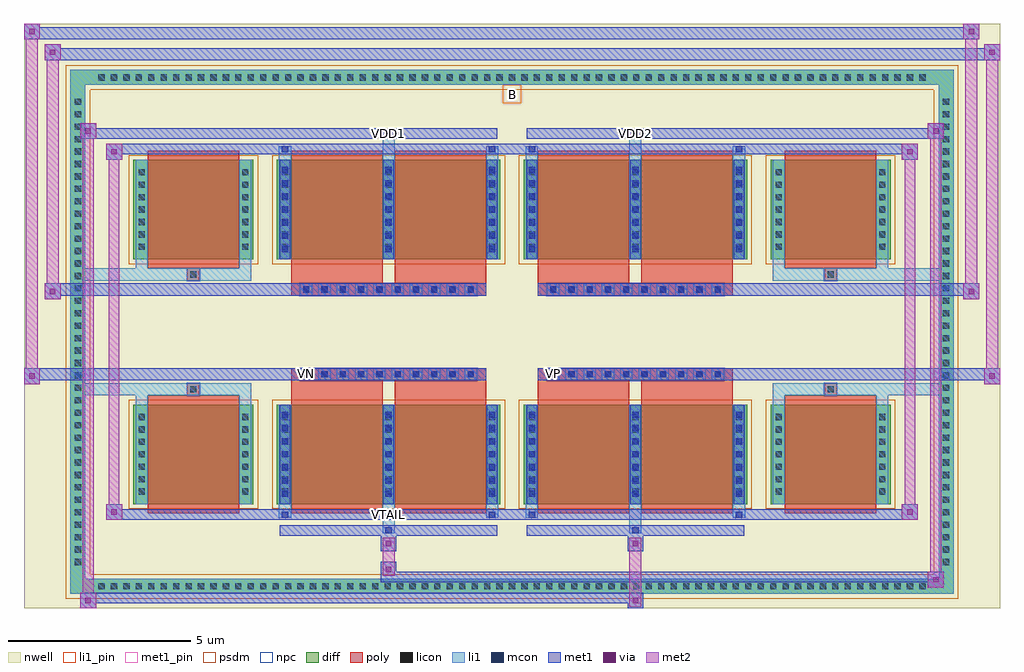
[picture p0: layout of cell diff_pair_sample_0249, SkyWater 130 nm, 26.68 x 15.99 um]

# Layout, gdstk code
import gdstk
lib = gdstk.Library(unit=1e-6, precision=5e-09)
def R(c, l, rs):  # rectangles x0, y0, x1, y1
    for r in rs: c.add(gdstk.rectangle(r[:2], r[2:], *l))
def A(c, l, x, y, w, h, nx, ny, dx, dy):  # array of equal rectangles
    R(c, l, [(x+i*dx, y+j*dy, x+i*dx+w, y+j*dy+h) for i in range(nx) for j in range(ny)])
def P(c, l, *ps):  # polygons
    for p in ps: c.add(gdstk.Polygon(p, *l))
nwell = (64, 20)
diff = (65, 20)
poly = (66, 20)
licon = (66, 44)
li1_pin = (67, 16)
li1 = (67, 20)
mcon = (67, 44)
met1_pin = (68, 16)
met1 = (68, 20)
via = (68, 44)
met2 = (69, 20)
psdm = (94, 20)
npc = (95, 20)

diff_pair_sample_0249 = lib.new_cell('diff_pair_sample_0249')
R(diff_pair_sample_0249, nwell, [(-13.34,-7.56,13.34,8.43), (-10.66,-5.75,-0.01,-0.795), (0.01,-5.75,10.66,-0.795), (-10.66,0.795,-0.01,5.75), (0.01,0.795,10.66,5.75)])
A(diff_pair_sample_0249, diff, -11.425, -7.16, 0.41, 0.41, 67, 2, 0.34, 13.91)
A(diff_pair_sample_0249, diff, -12.07, -6.495, 0.41, 0.41, 1, 38, 0, 0.34)
A(diff_pair_sample_0249, diff, 11.66, -6.495, 0.41, 0.41, 1, 38, 0, 0.34)
R(diff_pair_sample_0249, diff, [(-11.425,-7.16,11.425,-6.75), (-12.07,-6.495,-11.66,6.495), (11.66,-6.495,12.07,6.495), (-10.35,-4.705,-7.07,-1.985), (-6.43,-4.705,-0.32,-1.985), (0.32,-4.705,6.43,-1.985), (7.07,-4.705,10.35,-1.985), (-10.35,1.985,-7.07,4.705), (-6.43,1.985,-0.32,4.705), (0.32,1.985,6.43,4.705), (7.07,1.985,10.35,4.705), (-11.425,6.75,11.425,7.16)])
P(diff_pair_sample_0249, diff, [(12.07,7.16),(-12.07,7.16),(-12.07,-6.75),(-11.66,-6.75),(-11.66,6.75),(11.66,6.75),(11.66,-6.75),(-11.66,-6.75),(-12.07,-6.75),(-12.07,-7.16),(12.07,-7.16)])
A(diff_pair_sample_0249, poly, -5.79, -1.325, 0.33, 0.33, 10, 2, 0.5, 2.32)
A(diff_pair_sample_0249, poly, 0.96, -1.325, 0.33, 0.33, 10, 2, 0.5, 2.32)
R(diff_pair_sample_0249, poly, [(-9.96,-4.955,-7.46,-1.735), (-6.04,-4.955,-3.54,-1.735), (-3.21,-4.955,-0.71,-1.735), (0.71,-4.955,3.21,-1.735), (3.54,-4.955,6.04,-1.735), (7.46,-4.955,9.96,-1.735), (-8.875,-1.735,-8.545,-1.405), (-8.875,-1.735,-8.545,-1.405), (-6.04,-1.735,-3.54,-1.325), (-3.21,-1.735,-0.71,-1.325), (0.71,-1.735,3.21,-1.325), (3.54,-1.735,6.04,-1.325), (8.545,-1.735,8.875,-1.405), (8.545,-1.735,8.875,-1.405), (-6.04,-1.325,-0.71,-0.995), (0.71,-1.325,6.04,-0.995), (-6.04,0.995,-0.71,1.325), (0.71,0.995,6.04,1.325), (-6.04,1.325,-3.54,1.735), (-3.21,1.325,-0.71,1.735), (0.71,1.325,3.21,1.735), (3.54,1.325,6.04,1.735), (-8.875,1.405,-8.545,1.735), (-8.875,1.405,-8.545,1.735), (8.545,1.405,8.875,1.735), (8.545,1.405,8.875,1.735), (-9.96,1.735,-7.46,4.955), (-6.04,1.735,-3.54,4.955), (-3.21,1.735,-0.71,4.955), (0.71,1.735,3.21,4.955), (3.54,1.735,6.04,4.955), (7.46,1.735,9.96,4.955)])
A(diff_pair_sample_0249, licon, -11.305, -7.04, 0.17, 0.17, 67, 2, 0.34, 13.91)
A(diff_pair_sample_0249, licon, -11.95, -6.375, 0.17, 0.17, 1, 38, 0, 0.34)
A(diff_pair_sample_0249, licon, 11.78, -6.375, 0.17, 0.17, 1, 38, 0, 0.34)
A(diff_pair_sample_0249, licon, -10.21, -4.45, 0.17, 0.17, 1, 7, 0, 0.34)
A(diff_pair_sample_0249, licon, -7.38, -4.45, 0.17, 0.17, 1, 7, 0, 0.34)
A(diff_pair_sample_0249, licon, -6.29, -4.45, 0.17, 0.17, 3, 7, 2.83, 0.34)
A(diff_pair_sample_0249, licon, 0.46, -4.45, 0.17, 0.17, 3, 7, 2.83, 0.34)
A(diff_pair_sample_0249, licon, 7.21, -4.45, 0.17, 0.17, 1, 7, 0, 0.34)
A(diff_pair_sample_0249, licon, 10.04, -4.45, 0.17, 0.17, 1, 7, 0, 0.34)
A(diff_pair_sample_0249, licon, -5.71, -1.245, 0.17, 0.17, 10, 2, 0.5, 2.32)
A(diff_pair_sample_0249, licon, 1.04, -1.245, 0.17, 0.17, 10, 2, 0.5, 2.32)
A(diff_pair_sample_0249, licon, -10.21, 2.24, 0.17, 0.17, 1, 7, 0, 0.34)
A(diff_pair_sample_0249, licon, -7.38, 2.24, 0.17, 0.17, 1, 7, 0, 0.34)
A(diff_pair_sample_0249, licon, -6.29, 2.24, 0.17, 0.17, 3, 7, 2.83, 0.34)
A(diff_pair_sample_0249, licon, 0.46, 2.24, 0.17, 0.17, 3, 7, 2.83, 0.34)
A(diff_pair_sample_0249, licon, 7.21, 2.24, 0.17, 0.17, 1, 7, 0, 0.34)
A(diff_pair_sample_0249, licon, 10.04, 2.24, 0.17, 0.17, 1, 7, 0, 0.34)
R(diff_pair_sample_0249, licon, [(-8.795,-1.655,-8.625,-1.485), (8.625,-1.655,8.795,-1.485), (-8.795,1.485,-8.625,1.655), (8.625,1.485,8.795,1.655)])
R(diff_pair_sample_0249, li1_pin, [(-0.25,6.25,0.25,6.75)])
A(diff_pair_sample_0249, li1, -11.385, -7.12, 0.33, 0.33, 67, 2, 0.34, 13.91)
A(diff_pair_sample_0249, li1, -12.03, -6.455, 0.33, 0.33, 1, 38, 0, 0.34)
A(diff_pair_sample_0249, li1, 11.7, -6.455, 0.33, 0.33, 1, 38, 0, 0.34)
A(diff_pair_sample_0249, li1, -6.37, -4.705, 0.33, 2.72, 3, 2, 2.83, 6.69)
A(diff_pair_sample_0249, li1, 0.38, -4.705, 0.33, 2.72, 3, 2, 2.83, 6.69)
A(diff_pair_sample_0249, li1, -10.29, -4.53, 0.33, 0.33, 1, 7, 0, 0.34)
A(diff_pair_sample_0249, li1, -7.46, -4.53, 0.33, 0.33, 1, 7, 0, 0.34)
A(diff_pair_sample_0249, li1, -6.37, -4.53, 0.33, 0.33, 3, 7, 2.83, 0.34)
A(diff_pair_sample_0249, li1, 0.38, -4.53, 0.33, 0.33, 3, 7, 2.83, 0.34)
A(diff_pair_sample_0249, li1, 7.13, -4.53, 0.33, 0.33, 1, 7, 0, 0.34)
A(diff_pair_sample_0249, li1, 9.96, -4.53, 0.33, 0.33, 1, 7, 0, 0.34)
A(diff_pair_sample_0249, li1, -6.29, -4.51, 0.17, 0.17, 3, 7, 2.83, 0.36)
A(diff_pair_sample_0249, li1, -6.29, -4.51, 0.17, 2.33, 3, 2, 2.83, 6.69)
A(diff_pair_sample_0249, li1, 0.46, -4.51, 0.17, 0.17, 3, 7, 2.83, 0.36)
A(diff_pair_sample_0249, li1, 0.46, -4.51, 0.17, 2.33, 3, 2, 2.83, 6.69)
A(diff_pair_sample_0249, li1, -5.79, -1.325, 0.33, 0.33, 10, 2, 0.5, 2.32)
A(diff_pair_sample_0249, li1, 0.96, -1.325, 0.33, 0.33, 10, 2, 0.5, 2.32)
A(diff_pair_sample_0249, li1, -10.29, 2.16, 0.33, 0.33, 1, 7, 0, 0.34)
A(diff_pair_sample_0249, li1, -7.46, 2.16, 0.33, 0.33, 1, 7, 0, 0.34)
A(diff_pair_sample_0249, li1, -6.37, 2.16, 0.33, 0.33, 3, 7, 2.83, 0.34)
A(diff_pair_sample_0249, li1, 0.38, 2.16, 0.33, 0.33, 3, 7, 2.83, 0.34)
A(diff_pair_sample_0249, li1, 7.13, 2.16, 0.33, 0.33, 1, 7, 0, 0.34)
A(diff_pair_sample_0249, li1, 9.96, 2.16, 0.33, 0.33, 1, 7, 0, 0.34)
A(diff_pair_sample_0249, li1, -6.29, 2.18, 0.17, 0.17, 3, 7, 2.83, 0.36)
A(diff_pair_sample_0249, li1, 0.46, 2.18, 0.17, 0.17, 3, 7, 2.83, 0.36)
R(diff_pair_sample_0249, li1, [(-12.07,-7.16,-11.66,-6.75), (-12.07,-7.16,-11.66,-6.75), (-11.66,-7.16,11.66,-6.75), (11.66,-7.16,12.07,-6.75), (11.66,-7.16,12.07,-6.75), (-12.07,-6.75,-11.66,6.75), (11.66,-6.75,12.07,6.75), (-3.54,-5.51,-3.21,-4.705), (-3.46,-5.51,-3.29,-5.34), (3.21,-5.51,3.54,-4.705), (3.29,-5.51,3.46,-5.34), (-6.37,-5.08,-6.04,-4.705), (-6.29,-5.08,-6.12,-4.91), (-0.71,-5.08,-0.38,-4.705), (-0.63,-5.08,-0.46,-4.91), (0.38,-5.08,0.71,-4.705), (0.46,-5.08,0.63,-4.91), (6.04,-5.08,6.37,-4.705), (6.12,-5.08,6.29,-4.91), (-10.29,-4.705,-9.96,-1.985), (-7.46,-4.705,-7.13,-1.985), (7.13,-4.705,7.46,-1.985), (9.96,-4.705,10.29,-1.985), (-10.29,-1.985,-9.96,-1.405), (-7.46,-1.985,-7.13,-1.405), (7.13,-1.985,7.46,-1.405), (9.96,-1.985,10.29,-1.405), (-12.07,-1.735,-8.875,-1.405), (-10.29,-1.735,-8.875,-1.405), (-8.875,-1.735,-8.545,-1.405), (-8.545,-1.735,-7.13,-1.405), (7.13,-1.735,8.545,-1.405), (8.545,-1.735,8.875,-1.405), (8.545,-1.735,12.07,-1.405), (8.875,-1.735,10.29,-1.405), (-12.07,1.405,-8.875,1.735), (-10.29,1.405,-8.875,1.735), (-10.29,1.405,-9.96,1.985), (-8.875,1.405,-8.545,1.735), (-8.545,1.405,-7.13,1.735), (-7.46,1.405,-7.13,1.985), (7.13,1.405,8.545,1.735), (7.13,1.405,7.46,1.985), (8.545,1.405,8.875,1.735), (8.545,1.405,12.07,1.735), (8.875,1.405,10.29,1.735), (9.96,1.405,10.29,1.985), (-10.29,1.985,-9.96,4.705), (-7.46,1.985,-7.13,4.705), (7.13,1.985,7.46,4.705), (9.96,1.985,10.29,4.705), (-6.37,4.705,-6.04,5.08), (-3.54,4.705,-3.21,5.51), (-0.71,4.705,-0.38,5.08), (0.38,4.705,0.71,5.08), (3.21,4.705,3.54,5.51), (6.04,4.705,6.37,5.08), (-6.29,4.91,-6.12,5.08), (-0.63,4.91,-0.46,5.08), (0.46,4.91,0.63,5.08), (6.12,4.91,6.29,5.08), (-3.46,5.34,-3.29,5.51), (3.29,5.34,3.46,5.51), (-12.07,6.75,-11.66,7.16), (-12.07,6.75,-11.66,7.16), (-11.66,6.75,11.66,7.16), (11.66,6.75,12.07,7.16), (11.66,6.75,12.07,7.16)])
A(diff_pair_sample_0249, mcon, -6.29, -4.51, 0.17, 0.17, 3, 7, 2.83, 0.36)
A(diff_pair_sample_0249, mcon, 0.46, -4.51, 0.17, 0.17, 3, 7, 2.83, 0.36)
A(diff_pair_sample_0249, mcon, -5.71, -1.245, 0.17, 0.17, 10, 2, 0.5, 2.32)
A(diff_pair_sample_0249, mcon, 1.04, -1.245, 0.17, 0.17, 10, 2, 0.5, 2.32)
A(diff_pair_sample_0249, mcon, -6.29, 2.18, 0.17, 0.17, 3, 7, 2.83, 0.36)
A(diff_pair_sample_0249, mcon, 0.46, 2.18, 0.17, 0.17, 3, 7, 2.83, 0.36)
R(diff_pair_sample_0249, mcon, [(-3.46,-5.51,-3.29,-5.34), (3.29,-5.51,3.46,-5.34), (-6.29,-5.08,-6.12,-4.91), (-0.63,-5.08,-0.46,-4.91), (0.46,-5.08,0.63,-4.91), (6.12,-5.08,6.29,-4.91), (-6.29,4.91,-6.12,5.08), (-0.63,4.91,-0.46,5.08), (0.46,4.91,0.63,5.08), (6.12,4.91,6.29,5.08), (-3.46,5.34,-3.29,5.51), (3.29,5.34,3.46,5.51)])
R(diff_pair_sample_0249, met1_pin, [(-3.51,-5.12,-3.24,-4.85), (-5.76,-1.285,-5.49,-1.015), (0.99,-1.285,1.26,-1.015), (-3.51,5.3,-3.24,5.57), (3.24,5.3,3.51,5.57)])
A(diff_pair_sample_0249, met1, -6.35, -4.705, 0.29, 2.72, 3, 2, 2.83, 6.69)
A(diff_pair_sample_0249, met1, 0.4, -4.705, 0.29, 2.72, 3, 2, 2.83, 6.69)
A(diff_pair_sample_0249, met1, -6.35, -4.57, 0.29, 0.29, 3, 7, 2.83, 0.36)
A(diff_pair_sample_0249, met1, 0.4, -4.57, 0.29, 0.29, 3, 7, 2.83, 0.36)
A(diff_pair_sample_0249, met1, -5.77, -1.305, 0.29, 0.29, 10, 2, 0.5, 2.32)
A(diff_pair_sample_0249, met1, 0.98, -1.305, 0.29, 0.29, 10, 2, 0.5, 2.32)
A(diff_pair_sample_0249, met1, -6.35, 2.12, 0.29, 0.29, 3, 7, 2.83, 0.36)
A(diff_pair_sample_0249, met1, 0.4, 2.12, 0.29, 0.29, 3, 7, 2.83, 0.36)
R(diff_pair_sample_0249, met1, [(-11.8,-7.56,-11.37,-7.13), (3.16,-7.56,3.59,-7.13), (-11.8,-7.42,3.59,-7.13), (11.37,-6.99,11.8,-6.56), (-3.59,-6.85,11.8,-6.56), (-3.59,-6.71,-3.16,-6.28), (-3.59,-6,-3.16,-5.57), (3.16,-6,3.59,-5.57), (-6.35,-5.57,-0.4,-5.28), (-3.52,-5.57,-3.23,-5.28), (0.4,-5.57,6.35,-5.28), (3.23,-5.57,3.52,-5.28), (-11.09,-5.14,-10.66,-4.71), (-11.09,-5.14,-6.35,-4.85), (-6.35,-5.14,-6.06,-4.85), (-6.35,-5.14,-0.4,-4.85), (-0.69,-5.14,-0.4,-4.85), (-0.4,-5.14,0.4,-4.85), (0.4,-5.14,0.69,-4.85), (0.4,-5.14,6.35,-4.85), (6.06,-5.14,6.35,-4.85), (6.35,-5.14,11.09,-4.85), (10.66,-5.14,11.09,-4.71), (-13.34,-1.425,-12.91,-0.995), (12.91,-1.425,13.34,-0.995), (-13.34,-1.325,-0.71,-0.995), (-6.04,-1.325,-0.71,-0.995), (0.71,-1.325,6.04,-0.995), (0.71,-1.325,13.34,-0.995), (-12.77,0.895,-12.34,1.325), (12.34,0.895,12.77,1.325), (-12.77,0.995,-6.04,1.325), (-6.04,0.995,-0.71,1.325), (0.71,0.995,6.04,1.325), (6.04,0.995,12.77,1.325), (-11.09,4.71,-10.66,5.14), (10.66,4.71,11.09,5.14), (-11.09,4.85,-6.35,5.14), (-6.35,4.85,-6.06,5.14), (-6.35,4.85,-0.4,5.14), (-0.69,4.85,-0.4,5.14), (-0.4,4.85,0.4,5.14), (0.4,4.85,0.69,5.14), (0.4,4.85,6.35,5.14), (6.06,4.85,6.35,5.14), (6.35,4.85,11.09,5.14), (-11.8,5.28,-11.37,5.71), (-11.8,5.28,-6.35,5.57), (-6.35,5.28,-0.4,5.57), (-3.52,5.28,-3.23,5.57), (0.4,5.28,6.35,5.57), (3.23,5.28,3.52,5.57), (6.35,5.28,11.8,5.57), (11.37,5.28,11.8,5.71), (-12.77,7.43,-12.34,7.86), (-12.77,7.43,-10.66,7.76), (-10.66,7.43,10.66,7.76), (10.66,7.43,13.34,7.76), (12.91,7.43,13.34,7.86), (-13.34,8,-12.91,8.43), (-13.34,8,-10.66,8.33), (-10.66,8,10.66,8.33), (10.66,8,12.77,8.33), (12.34,8,12.77,8.43)])
R(diff_pair_sample_0249, via, [(-11.66,-7.42,-11.51,-7.27), (3.3,-7.42,3.45,-7.27), (11.51,-6.85,11.66,-6.7), (-3.45,-6.57,-3.3,-6.42), (-3.45,-5.86,-3.3,-5.71), (3.3,-5.86,3.45,-5.71), (-10.95,-5,-10.8,-4.85), (10.8,-5,10.95,-4.85), (-13.2,-1.285,-13.05,-1.135), (13.05,-1.285,13.2,-1.135), (-12.63,1.035,-12.48,1.185), (12.48,1.035,12.63,1.185), (-10.95,4.85,-10.8,5), (10.8,4.85,10.95,5), (-11.66,5.42,-11.51,5.57), (11.51,5.42,11.66,5.57), (-12.63,7.57,-12.48,7.72), (13.05,7.57,13.2,7.72), (-13.2,8.14,-13.05,8.29), (12.48,8.14,12.63,8.29)])
R(diff_pair_sample_0249, met2, [(-11.8,-7.56,-11.37,-7.13), (-11.73,-7.56,-11.44,5.71), (-11.44,-7.56,-11.37,-7.13), (-11.75,-7.51,-11.42,-7.18), (3.21,-7.51,3.54,-7.18), (3.21,-7.18,3.54,-5.95), (11.37,-6.99,11.8,-6.56), (11.44,-6.99,11.73,5.71), (11.73,-6.99,11.8,-6.56), (11.42,-6.94,11.75,-6.61), (-3.54,-6.66,-3.21,-6.33), (-3.54,-6.33,-3.21,-5.95), (-3.54,-5.95,-3.21,-5.62), (3.21,-5.95,3.54,-5.62), (-11.09,-5.14,-10.66,-4.71), (-11.02,-5.14,-10.73,5.14), (-10.73,-5.14,-10.66,-4.71), (10.66,-5.14,11.09,-4.71), (10.73,-5.14,11.02,5.14), (11.02,-5.14,11.09,-4.71), (-11.04,-5.09,-10.71,-4.76), (10.71,-5.09,11.04,-4.76), (-13.34,-1.425,-12.91,-0.995), (-13.29,-1.425,-12.96,8.43), (-12.96,-1.425,-12.91,-0.995), (12.91,-1.425,13.34,-0.995), (12.96,-1.425,13.29,7.86), (13.29,-1.425,13.34,-0.995), (-13.29,-1.375,-12.96,-1.045), (12.96,-1.375,13.29,-1.045), (-12.77,0.895,-12.34,1.325), (-12.72,0.895,-12.39,7.86), (-12.39,0.895,-12.34,1.325), (12.34,0.895,12.77,1.325), (12.39,0.895,12.72,8.43), (12.72,0.895,12.77,1.325), (-12.72,0.945,-12.39,1.275), (12.39,0.945,12.72,1.275), (-11.09,4.71,-10.66,5.14), (-10.73,4.71,-10.66,5.14), (10.66,4.71,11.09,5.14), (11.02,4.71,11.09,5.14), (-11.04,4.76,-10.71,5.09), (10.71,4.76,11.04,5.09), (-11.8,5.28,-11.37,5.71), (-11.44,5.28,-11.37,5.71), (11.37,5.28,11.8,5.71), (11.73,5.28,11.8,5.71), (-11.75,5.33,-11.42,5.66), (11.42,5.33,11.75,5.66), (-12.77,7.43,-12.34,7.86), (-12.39,7.43,-12.34,7.86), (12.91,7.43,13.34,7.86), (13.29,7.43,13.34,7.86), (-12.72,7.48,-12.39,7.81), (12.96,7.48,13.29,7.81), (-13.34,8,-12.91,8.43), (-12.96,8,-12.91,8.43), (12.34,8,12.77,8.43), (12.72,8,12.77,8.43), (-13.29,8.05,-12.96,8.38), (12.39,8.05,12.72,8.38)])
R(diff_pair_sample_0249, psdm, [(-10.48,-4.835,-6.94,-1.855), (-6.56,-4.835,-0.19,-1.855), (0.19,-4.835,6.56,-1.855), (6.94,-4.835,10.48,-1.855), (-10.48,1.855,-6.94,4.835), (-6.56,1.855,-0.19,4.835), (0.19,1.855,6.56,4.835), (6.94,1.855,10.48,4.835)])
P(diff_pair_sample_0249, psdm, [(12.2,7.29),(-12.2,7.29),(-12.2,-6.62),(-11.53,-6.62),(-11.53,6.62),(11.53,6.62),(11.53,-6.62),(-11.53,-6.62),(-12.2,-6.62),(-12.2,-7.29),(12.2,-7.29)])
A(diff_pair_sample_0249, npc, -5.81, -1.345, 0.37, 0.37, 10, 2, 0.5, 2.32)
A(diff_pair_sample_0249, npc, 0.94, -1.345, 0.37, 0.37, 10, 2, 0.5, 2.32)
R(diff_pair_sample_0249, npc, [(-8.895,-1.755,-8.525,-1.385), (8.525,-1.755,8.895,-1.385), (-5.81,-1.345,-4.94,-0.975), (-5.81,-1.345,-4.94,-0.975), (-5.31,-1.345,-4.44,-0.975), (-5.31,-1.345,-4.44,-0.975), (-4.81,-1.345,-3.94,-0.975), (-4.81,-1.345,-3.94,-0.975), (-4.31,-1.345,-3.44,-0.975), (-4.31,-1.345,-3.44,-0.975), (-3.81,-1.345,-2.94,-0.975), (-3.81,-1.345,-2.94,-0.975), (-3.31,-1.345,-2.44,-0.975), (-3.31,-1.345,-2.44,-0.975), (-2.81,-1.345,-1.94,-0.975), (-2.81,-1.345,-1.94,-0.975), (-2.31,-1.345,-1.44,-0.975), (-2.31,-1.345,-1.44,-0.975), (-1.81,-1.345,-0.94,-0.975), (-1.81,-1.345,-0.94,-0.975), (0.94,-1.345,1.81,-0.975), (0.94,-1.345,1.81,-0.975), (1.44,-1.345,2.31,-0.975), (1.44,-1.345,2.31,-0.975), (1.94,-1.345,2.81,-0.975), (1.94,-1.345,2.81,-0.975), (2.44,-1.345,3.31,-0.975), (2.44,-1.345,3.31,-0.975), (2.94,-1.345,3.81,-0.975), (2.94,-1.345,3.81,-0.975), (3.44,-1.345,4.31,-0.975), (3.44,-1.345,4.31,-0.975), (3.94,-1.345,4.81,-0.975), (3.94,-1.345,4.81,-0.975), (4.44,-1.345,5.31,-0.975), (4.44,-1.345,5.31,-0.975), (4.94,-1.345,5.81,-0.975), (4.94,-1.345,5.81,-0.975), (-5.81,0.975,-4.94,1.345), (-5.81,0.975,-4.94,1.345), (-5.31,0.975,-4.44,1.345), (-5.31,0.975,-4.44,1.345), (-4.81,0.975,-3.94,1.345), (-4.81,0.975,-3.94,1.345), (-4.31,0.975,-3.44,1.345), (-4.31,0.975,-3.44,1.345), (-3.81,0.975,-2.94,1.345), (-3.81,0.975,-2.94,1.345), (-3.31,0.975,-2.44,1.345), (-3.31,0.975,-2.44,1.345), (-2.81,0.975,-1.94,1.345), (-2.81,0.975,-1.94,1.345), (-2.31,0.975,-1.44,1.345), (-2.31,0.975,-1.44,1.345), (-1.81,0.975,-0.94,1.345), (-1.81,0.975,-0.94,1.345), (0.94,0.975,1.81,1.345), (0.94,0.975,1.81,1.345), (1.44,0.975,2.31,1.345), (1.44,0.975,2.31,1.345), (1.94,0.975,2.81,1.345), (1.94,0.975,2.81,1.345), (2.44,0.975,3.31,1.345), (2.44,0.975,3.31,1.345), (2.94,0.975,3.81,1.345), (2.94,0.975,3.81,1.345), (3.44,0.975,4.31,1.345), (3.44,0.975,4.31,1.345), (3.94,0.975,4.81,1.345), (3.94,0.975,4.81,1.345), (4.44,0.975,5.31,1.345), (4.44,0.975,5.31,1.345), (4.94,0.975,5.81,1.345), (4.94,0.975,5.81,1.345), (-8.895,1.385,-8.525,1.755), (8.525,1.385,8.895,1.755)])
diff_pair_sample_0249.add(gdstk.Label('VTAIL', (-3.375,-4.985), layer=68, texttype=5))
diff_pair_sample_0249.add(gdstk.Label('VN', (-5.625,-1.15), layer=68, texttype=5))
diff_pair_sample_0249.add(gdstk.Label('VP', (1.125,-1.15), layer=68, texttype=5))
diff_pair_sample_0249.add(gdstk.Label('B', (0,6.5), layer=67, texttype=5))
diff_pair_sample_0249.add(gdstk.Label('VDD2', (3.375,5.435), layer=68, texttype=5))
diff_pair_sample_0249.add(gdstk.Label('VDD1', (-3.375,5.435), layer=68, texttype=5))

lib.write_gds('diff_pair_sample_0249.gds')
